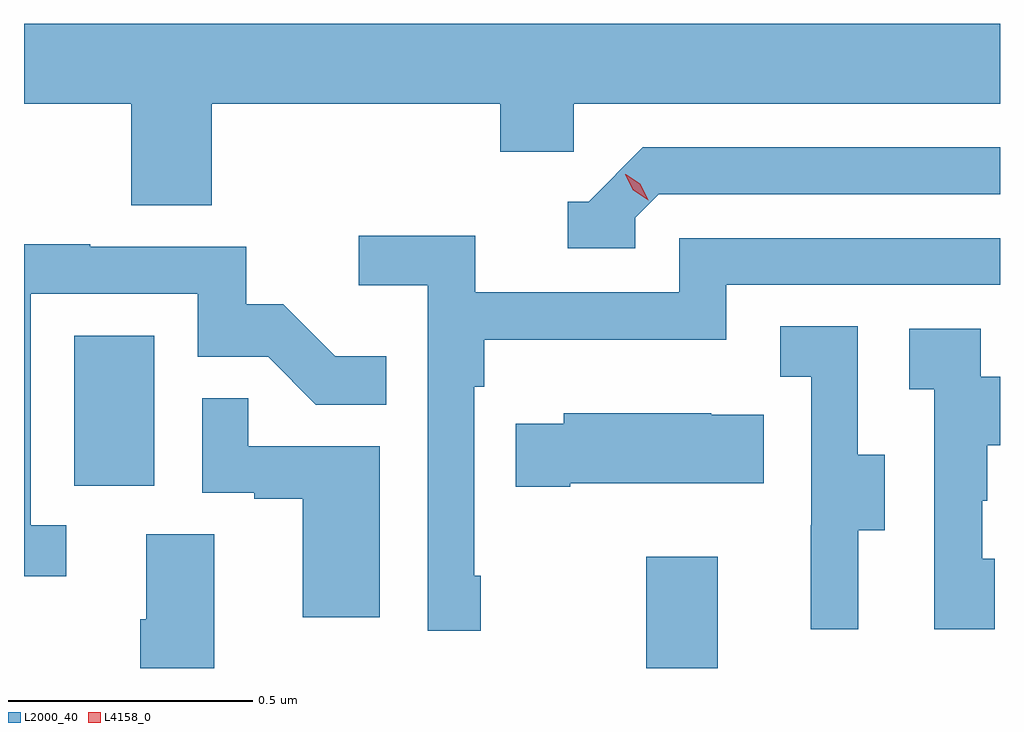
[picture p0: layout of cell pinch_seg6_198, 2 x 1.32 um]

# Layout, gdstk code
import gdstk
lib = gdstk.Library(unit=1e-6, precision=1e-09)
def R(c, l, rs):  # rectangles x0, y0, x1, y1
    for r in rs: c.add(gdstk.rectangle(r[:2], r[2:], *l))
def P(c, l, *ps):  # polygons
    for p in ps: c.add(gdstk.Polygon(p, *l))
L2000_40 = (2000, 40)
L4158_0 = (4158, 0)

pinch_seg6_198 = lib.new_cell('pinch_seg6_198')
R(pinch_seg6_198, L2000_40, [(1019.416,931.528,1019.563,931.756), (1018.244,931.902,1018.408,932.209)])
P(pinch_seg6_198, L2000_40, [(1018.526,932.684),(1019.117,932.684),(1019.117,932.586),(1019.268,932.586),(1019.268,932.684),(1020.141,932.684),(1020.141,932.848),(1018.141,932.848),(1018.141,932.684),(1018.361,932.684),(1018.361,932.476),(1018.526,932.476)],
  [(1019.394,932.451),(1019.442,932.499),(1020.141,932.499),(1020.141,932.595),(1019.409,932.595),(1019.298,932.484),(1019.255,932.484),(1019.255,932.388),(1019.394,932.388)],
  [(1019.077,931.717),(1019.064,931.717),(1019.064,932.105),(1019.084,932.105),(1019.084,932.201),(1019.58,932.201),(1019.58,932.313),(1020.141,932.313),(1020.141,932.409),(1019.484,932.409),(1019.484,932.298),(1019.066,932.298),(1019.066,932.414),(1018.827,932.414),(1018.827,932.312),(1018.968,932.312),(1018.968,931.605),(1019.077,931.605)],
  [(1018.228,931.821),(1018.155,931.821),(1018.155,932.295),(1018.497,932.295),(1018.497,932.166),(1018.641,932.166),(1018.739,932.068),(1018.883,932.068),(1018.883,932.167),(1018.779,932.167),(1018.672,932.274),(1018.596,932.274),(1018.596,932.391),(1018.277,932.391),(1018.277,932.396),(1018.141,932.396),(1018.141,931.716),(1018.228,931.716)],
  [(1019.851,931.81),(1019.905,931.81),(1019.905,931.965),(1019.85,931.965),(1019.85,932.228),(1019.691,932.228),(1019.691,932.125),(1019.754,932.125),(1019.754,931.821),(1019.753,931.821),(1019.753,931.608),(1019.851,931.608)],
  [(1020.13,931.752),(1020.105,931.752),(1020.105,931.871),(1020.115,931.871),(1020.115,931.985),(1020.141,931.985),(1020.141,932.125),(1020.102,932.125),(1020.102,932.223),(1019.955,932.223),(1019.955,932.099),(1020.006,932.099),(1020.006,931.608),(1020.13,931.608)],
  [(1018.87,931.983),(1018.601,931.983),(1018.601,932.081),(1018.506,932.081),(1018.506,931.887),(1018.613,931.887),(1018.613,931.875),(1018.712,931.875),(1018.712,931.632),(1018.87,931.632)],
  [(1019.26,931.907),(1019.657,931.907),(1019.657,932.047),(1019.549,932.047),(1019.549,932.05),(1019.247,932.05),(1019.247,932.029),(1019.149,932.029),(1019.149,931.9),(1019.26,931.9)],
  [(1018.531,931.802),(1018.391,931.802),(1018.391,931.628),(1018.379,931.628),(1018.379,931.528),(1018.531,931.528)])
P(pinch_seg6_198, L4158_0, [(1019.42,932.487),(1019.389,932.507),(1019.373,932.539),(1019.373,932.54),(1019.374,932.54),(1019.404,932.52),(1019.42,932.487),(1019.42,932.487)])

lib.write_gds('pinch_seg6_198.gds')
